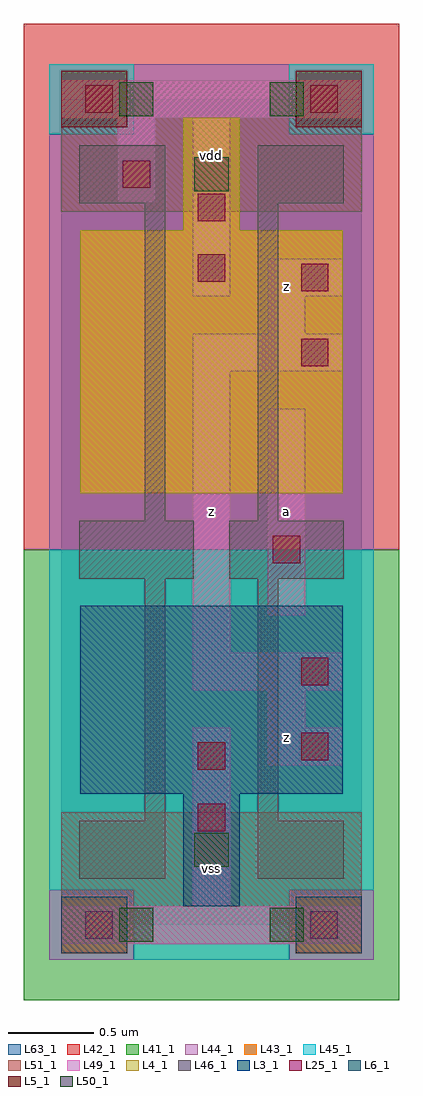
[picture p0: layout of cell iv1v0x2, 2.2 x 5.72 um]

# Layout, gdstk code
import gdstk
lib = gdstk.Library(unit=1e-6, precision=1e-09)
def R(c, l, rs):  # rectangles x0, y0, x1, y1
    for r in rs: c.add(gdstk.rectangle(r[:2], r[2:], *l))
L3_1 = (3, 1)
L4_1 = (4, 1)
L5_1 = (5, 1)
L6_1 = (6, 1)
L25_1 = (25, 1)
L41_1 = (41, 1)
L42_1 = (42, 1)
L43_1 = (43, 1)
L44_1 = (44, 1)
L45_1 = (45, 1)
L46_1 = (46, 1)
L49_1 = (49, 1)
L50_1 = (50, 1)
L51_1 = (51, 1)
L63_1 = (63, 1)

iv1v0x2 = lib.new_cell('iv1v0x2')
R(iv1v0x2, L3_1, [(0.715,0.11,1.045,0.77), (0.11,0.77,1.65,1.87)])
R(iv1v0x2, L4_1, [(0.11,2.53,1.65,4.07), (0.715,4.07,1.045,4.73)])
R(iv1v0x2, L5_1, [(0,4.675,0.385,5.005), (1.375,4.675,1.76,5.005)])
R(iv1v0x2, L6_1, [(0,-0.165,0.385,0.165), (1.375,-0.165,1.76,0.165)])
R(iv1v0x2, L25_1, [(0.14,-0.08,0.3,0.08), (1.46,-0.08,1.62,0.08), (0.8,0.55,0.96,0.71), (0.8,0.91,0.96,1.07), (1.405,0.965,1.565,1.125), (1.405,1.405,1.565,1.565), (1.24,2.12,1.4,2.28), (1.405,3.275,1.565,3.435), (1.405,3.715,1.565,3.875), (0.8,3.77,0.96,3.93), (0.8,4.125,0.96,4.285), (0.36,4.32,0.52,4.48), (0.14,4.76,0.3,4.92), (1.46,4.76,1.62,4.92)])
R(iv1v0x2, L41_1, [(-0.22,-0.44,1.98,2.2)])
R(iv1v0x2, L42_1, [(-0.22,2.2,1.98,5.28)])
R(iv1v0x2, L43_1, [(0,-0.165,0.385,0.165), (1.375,-0.165,1.76,0.165), (0.715,0.11,1.045,0.77), (0.11,0.77,1.65,1.87), (0.11,2.53,1.65,4.07), (0.715,4.07,1.045,4.73), (0,4.675,0.385,5.005), (1.375,4.675,1.76,5.005)])
R(iv1v0x2, L44_1, [(-0.07,-0.205,0.425,0.205), (1.335,-0.205,1.83,0.205), (-0.07,2.2,1.83,4.635), (0.425,4.635,1.335,5.045)])
R(iv1v0x2, L45_1, [(0.425,-0.205,1.335,0.205), (-0.07,0.205,1.83,2.2), (-0.07,4.635,0.425,5.045), (1.335,4.635,1.83,5.045)])
R(iv1v0x2, L46_1, [(0.105,0.27,0.61,0.61), (1.15,0.27,1.655,0.61), (0.49,0.61,0.61,2.03), (1.15,0.61,1.27,2.03), (0.105,2.03,0.775,2.37), (0.985,2.03,1.655,2.37), (0.49,2.37,0.61,4.23), (1.15,2.37,1.27,4.23), (0.105,4.23,0.61,4.57), (1.15,4.23,1.655,4.57)])
R(iv1v0x2, L49_1, [(0,-0.11,1.76,0.11), (0.77,0.11,0.99,1.155), (1.21,0.935,1.65,1.155), (1.21,1.155,1.43,1.375), (0.77,1.375,1.65,1.595), (0.77,1.595,0.99,3.245), (1.21,1.815,1.43,3.025), (0.77,3.245,1.65,3.465), (1.21,3.465,1.43,3.685), (0.77,3.685,0.99,4.73), (1.21,3.685,1.65,3.905), (0.33,4.235,0.55,4.73), (0,4.73,1.76,4.95)])
R(iv1v0x2, L50_1, [(0.34,-0.1,0.54,0.1), (1.22,-0.1,1.42,0.1), (0.78,0.34,0.98,0.54), (0.78,4.3,0.98,4.5), (0.34,4.74,0.54,4.94), (1.22,4.74,1.42,4.94)])
R(iv1v0x2, L51_1, [(0,-0.11,1.76,0.66), (0,4.18,1.76,4.95)])
R(iv1v0x2, L63_1, [(0,0,1.76,4.84)])
iv1v0x2.add(gdstk.Label('z', (0.88,2.42), layer=49, texttype=1))
iv1v0x2.add(gdstk.Label('z', (1.32,1.1), layer=49, texttype=1))
iv1v0x2.add(gdstk.Label('a', (1.32,2.42), layer=49, texttype=1))
iv1v0x2.add(gdstk.Label('z', (1.32,3.74), layer=49, texttype=1))
iv1v0x2.add(gdstk.Label('vss', (0.88,0.33), layer=51, texttype=1))
iv1v0x2.add(gdstk.Label('vdd', (0.88,4.51), layer=51, texttype=1))

lib.write_gds('iv1v0x2.gds')
